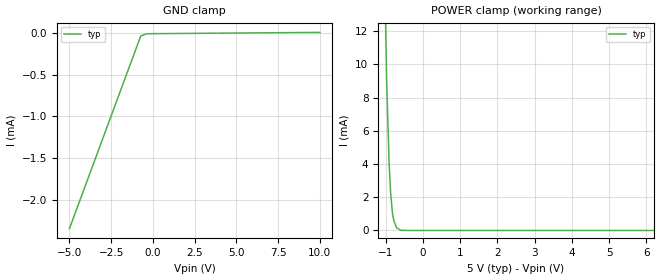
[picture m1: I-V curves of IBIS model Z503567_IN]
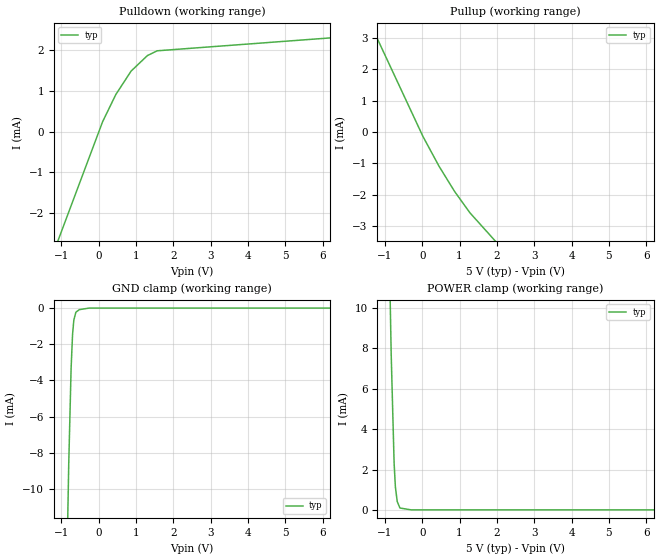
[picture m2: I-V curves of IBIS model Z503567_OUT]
| YOU ARE ONLY AUTHORIZED TO USE THIS SOFTWARE
| ACCORDING TO LICENSOR'S LICENSE RESTRICTIONS.
[IBIS Ver] 3.1
[File Name] mc14077bcl.ibs
[File Rev] 2.0
[Source] Measured and created by ICX Technology
[Date] Friday 7/14/00 9:07:53 AM
[Copyright]
| (C) COPYRIGHT 1993-2000
| MENTOR GRAPHICS CORPORATION
| ICX STANDARD LIBRARY, ICX PROJECT MODELING,
| ICX CUSTOM MODELING, ICX VENDOR MODEL
| ALL RIGHTS RESERVED.
| THE FOLLOWING ARE TRADEMARKS OR SERVICE MARKS OF
| MENTOR GRAPHICS CORPORATION:ICX (R), ICX STANDARD
| LIBRARY(R), ICX PROJECT MODELING(R), ICX CUSTOM
| MODELING(R), qualityIBIS(TM), MODELVIEWER(TM),
| AND MODELEDITOR(TM)
| ALL COPIES OF SOFTWARE, INCLUDING BUT NOT LIMITED TO
| ANY MODIFICATIONS, ENHANCEMENTS OR DERIVATIVE WORKS,
| MUST CONTAIN ALL MENTOR GRAPHICS CORPORATION'S
| NOTICES AND LEGENDS, INCLUDING THOSE EMBEDDED IN
| SOFTWARE AND THOSE AFFIXED TO SOFTWARE MEDIUM
| AND CONTAINER, AS RECEIVED FROM MENTOR GRAPHICS
| CORPORATION.
|  ZAP Model Builder 2.7
[Component] MC14077BCL
[Manufacturer] OnSemiconductor
[Package]
| variable   typ   min   max
R_pkg  .21ohms NA NA
L_pkg  4.543nH NA NA
C_pkg  1.8pF NA NA
[Pin] signal_name  model_name  R_pin  L_pin C_pin
1 IN1A Z503567_IN .22 6.757n 2.434p
2 IN2A Z503567_IN .212 4.757n 1.941p
3 OUTA Z503567_OUT .204 3.257n 1.448p
4 OUTB Z503567_OUT .196 2.257n .955p
5 IN1B Z503567_IN .204 3.257n 1.448p
6 IN2B Z503567_IN .212 4.757n 1.941p
7 VSS POWER .22 6.757n 2.434p
8 IN1C Z503567_IN .22 6.757n 2.434p
9 IN2C Z503567_IN .212 4.757n 1.941p
10 OUTC Z503567_OUT .204 3.257n 1.448p
11 OUTD Z503567_OUT .196 2.257n .955p
12 IN1D Z503567_IN .204 3.257n 1.448p
13 IN2D Z503567_IN .212 4.757n 1.941p
14 VDD POWER .22 6.757n 2.434p
| Models and submodels in the file (2): Z503567_IN (Input), Z503567_OUT (Output)
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| (C) COPYRIGHT 1993-2000
| MENTOR GRAPHICS CORPORATION
| ICX STANDARD LIBRARY, ICX PROJECT MODELING,
| ICX CUSTOM MODELING, ICX VENDOR MODEL
| ALL RIGHTS RESERVED.
| THE FOLLOWING ARE TRADEMARKS OR SERVICE MARKS OF
| MENTOR GRAPHICS CORPORATION:ICX (R), ICX STANDARD
| LIBRARY(R), ICX PROJECT MODELING(R), ICX CUSTOM
| MODELING(R), qualityIBIS(TM), MODELVIEWER(TM),
| AND MODELEDITOR(TM)
| ALL COPIES OF SOFTWARE, INCLUDING BUT NOT LIMITED TO
| ANY MODIFICATIONS, ENHANCEMENTS OR DERIVATIVE WORKS,
| MUST CONTAIN ALL MENTOR GRAPHICS CORPORATION'S
| NOTICES AND LEGENDS, INCLUDING THOSE EMBEDDED IN
| SOFTWARE AND THOSE AFFIXED TO SOFTWARE MEDIUM
| AND CONTAINER, AS RECEIVED FROM MENTOR GRAPHICS
| CORPORATION.
| Model Application Version 1.89 2/18/99.
[Model] Z503567_IN
Model_type Input
Vinl = 1.500V
Vinh = 3.500V
C_comp 4.000pF NA NA
| variable typ   min   max
[Voltage Range] 5.000V NA NA
[GND Clamp Reference] 0.000V NA NA
[POWER Clamp Reference] 5.000V NA NA
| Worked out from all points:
|   POWER clamp passes 1 mA (typ) near -0.81 V on its own axis
[GND Clamp]
-5V       -2.347mA   NA         NA
-728.6mV  -36.67uA   NA         NA
-364.3mV  -9.584uA   NA         NA
10V       6.275uA    NA         NA
[POWER Clamp]
-5V       529.4mA    NA         NA
-977mV    9.257mA    NA         NA
-907mV    3.977mA    NA         NA
-866mV    2.215mA    NA         NA
-820mV    1.073mA    NA         NA
-784mV    610.6uA    NA         NA
-707mV    162.1uA    NA         NA
-591mV    11.98uA    NA         NA
-295.5mV  0A         NA         NA
10V       0A         NA         NA
| (C) COPYRIGHT 1993-2000
| MENTOR GRAPHICS CORPORATION
| ICX STANDARD LIBRARY, ICX PROJECT MODELING,
| ICX CUSTOM MODELING, ICX VENDOR MODEL
| ALL RIGHTS RESERVED.
| THE FOLLOWING ARE TRADEMARKS OR SERVICE MARKS OF
| MENTOR GRAPHICS CORPORATION:ICX (R), ICX STANDARD
| LIBRARY(R), ICX PROJECT MODELING(R), ICX CUSTOM
| MODELING(R), qualityIBIS(TM), MODELVIEWER(TM),
| AND MODELEDITOR(TM)
| ALL COPIES OF SOFTWARE, INCLUDING BUT NOT LIMITED TO
| ANY MODIFICATIONS, ENHANCEMENTS OR DERIVATIVE WORKS,
| MUST CONTAIN ALL MENTOR GRAPHICS CORPORATION'S
| NOTICES AND LEGENDS, INCLUDING THOSE EMBEDDED IN
| SOFTWARE AND THOSE AFFIXED TO SOFTWARE MEDIUM
| AND CONTAINER, AS RECEIVED FROM MENTOR GRAPHICS
| CORPORATION.
| Model Application Version 1.89 2/18/99.
[Model] Z503567_OUT
Model_type Output
Vref=0.000V
Rref=500.0Mohms
Cref=50.00pF
Vmeas=2.500V
C_comp 8.000pF NA NA
| variable typ   min   max
[Voltage Range] 5.000V NA NA
[POWER Clamp Reference] 5.000V NA NA
[Pullup Reference] 5.000V NA NA
[Pulldown Reference] 0.000V NA NA
[GND Clamp Reference] 0.000V NA NA
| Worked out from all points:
|   slope of the pulldown table from 0 to 0.75 V, typ, clamps not added: 562 ohm
|   slope of the pullup table from 0 to 0.75 V, typ, clamps not added: 475 ohm
|   GND clamp passes 1 mA (typ) near -0.68 V on its own axis
|   POWER clamp passes 1 mA (typ) near -0.71 V on its own axis
[GND Clamp]
-5V       -476.5mA   NA         NA
-800.2mV  -8.579mA   NA         NA
-737.1mV  -3.329mA   NA         NA
-698.2mV  -1.448mA   NA         NA
-663.9mV  -660.9uA   NA         NA
-610mV    -229.7uA   NA         NA
-517.5mV  -86.86uA   NA         NA
-258.7mV  0A         NA         NA
10V       0A         NA         NA
[Pulldown]
-5V       -12.24mA   NA         NA
105mV     242uA      NA         NA
459mV     910.7uA    NA         NA
869.5mV   1.488mA    NA         NA
1.305V    1.868mA    NA         NA
1.567V    1.986mA    NA         NA
10V       2.562mA    NA         NA
[Pullup]
-5V       12.66mA    NA         NA
24mV      -148.9uA   NA         NA
454mV     -1.094mA   NA         NA
864mV     -1.885mA   NA         NA
1.275V    -2.567mA   NA         NA
10V       -14.12mA   NA         NA
[POWER Clamp]
-5V       420.1mA    NA         NA
-830mV    7.693mA    NA         NA
-752mV    2.308mA    NA         NA
-718mV    1.137mA    NA         NA
-669mV    414.4uA    NA         NA
-596mV    90.58uA    NA         NA
-298mV    0A         NA         NA
10V       0A         NA         NA
[Ramp]
| variable typ min max
dV/dt_r 2.538/23.05n NA NA
dV/dt_f 2.538/18.02n NA NA
R_load = 2.500kOhms
